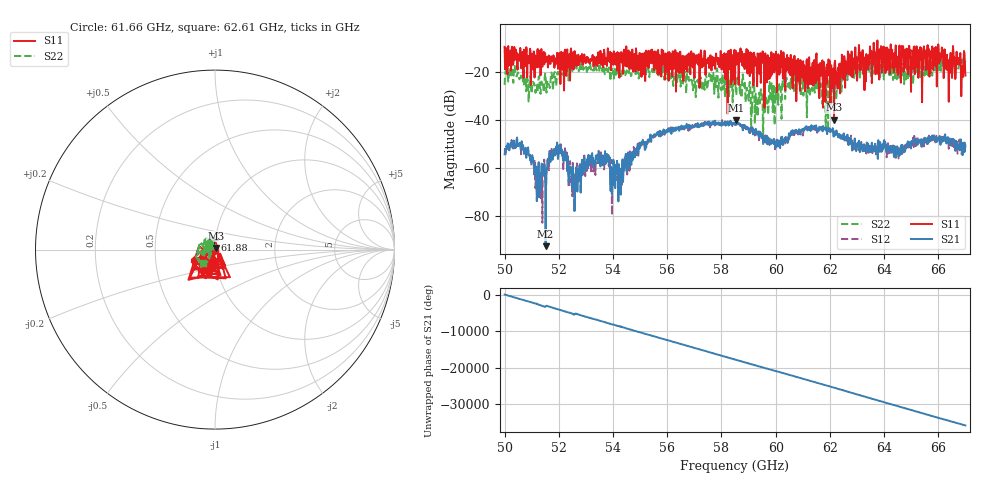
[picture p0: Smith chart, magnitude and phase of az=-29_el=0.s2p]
!Created with skrf (http://scikit-rf.org).
# GHz S RI R 50.0
!freq ReS11 ImS11 ReS21 ImS21 ReS12 ImS12 ReS22 ImS22
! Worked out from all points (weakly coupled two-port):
!   1001 points, 50 GHz to 67 GHz, reference 50 ohm
!   highest |S21| = -40.26 dB at 58.55 GHz (marker M1); lowest = -92.4 dB at 51.51 GHz (marker M2)
!   lowest |S11| = -40.0 dB at 62.16 GHz (marker M3), VSWR 1.02, Z = 50.4 + j0.921 ohm
!   |S11| at or under -10 dB: 50.8 GHz to 54.49 GHz (3.686 GHz wide, 7 % of centre); 54.49 GHz to 62.94 GHz (8.447 GHz wide, 14.4 % of centre); 66.55 GHz to end of sweep (the widest 3 of 30)
!   |S22| runs from -50.4 to -14.0 dB; largest |S21 - S12| = 0.002
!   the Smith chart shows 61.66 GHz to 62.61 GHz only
!   S11 on the Smith chart (normalised r, x): 61.66 GHz: 0.97, -0.16; 61.88 GHz: 0.99, +0.11; 62.61 GHz: 0.87, -0.10
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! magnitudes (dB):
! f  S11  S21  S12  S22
! 50 GHz  -9.7  -54.3  -53.1  -25.5
! 50.61 GHz  -18.6  -52.7  -54.3  -21.2
! 51.27 GHz  -14.1  -72.2  -71.3  -21.8
! 51.51 GHz  -16.0  -92.4  -64.7  -22.5
! 51.99 GHz  -17.0  -53.7  -50.7  -20.7
! 52.55 GHz  -19.0  -66.8  -70.7  -18.5
! 52.84 GHz  -13.4  -58.9  -61.1  -19.5
! 53.79 GHz  -14.5  -56.2  -53.8  -19.5
! 53.96 GHz  -15.4  -70.9  -79.5  -18.8
! 54.28 GHz  -15.8  -71.1  -64.0  -20.8
! 55.68 GHz  -13.6  -46.0  -45.0  -21.6
! 58.5 GHz  -25.3  -41.3  -41.9  -24.0
! 58.55 GHz  -17.1  -40.3  -42.0  -29.7
! 59.61 GHz  -12.6  -49.3  -48.9  -37.3
! 60.64 GHz  -14.8  -44.4  -45.9  -22.0
! 61.34 GHz  -25.2  -43.4  -43.3  -25.6
! 61.66 GHz  -21.9  -43.0  -42.9  -26.9
! 61.88 GHz  -25.1  -44.8  -44.1  -23.5
! 62.16 GHz  -40.0  -45.4  -44.8  -29.3
! 62.61 GHz  -21.0  -46.7  -48.2  -20.1
! 64.18 GHz  -18.1  -52.1  -52.9  -18.8
! 67 GHz  -21.6  -50.6  -52.4  -15.5
